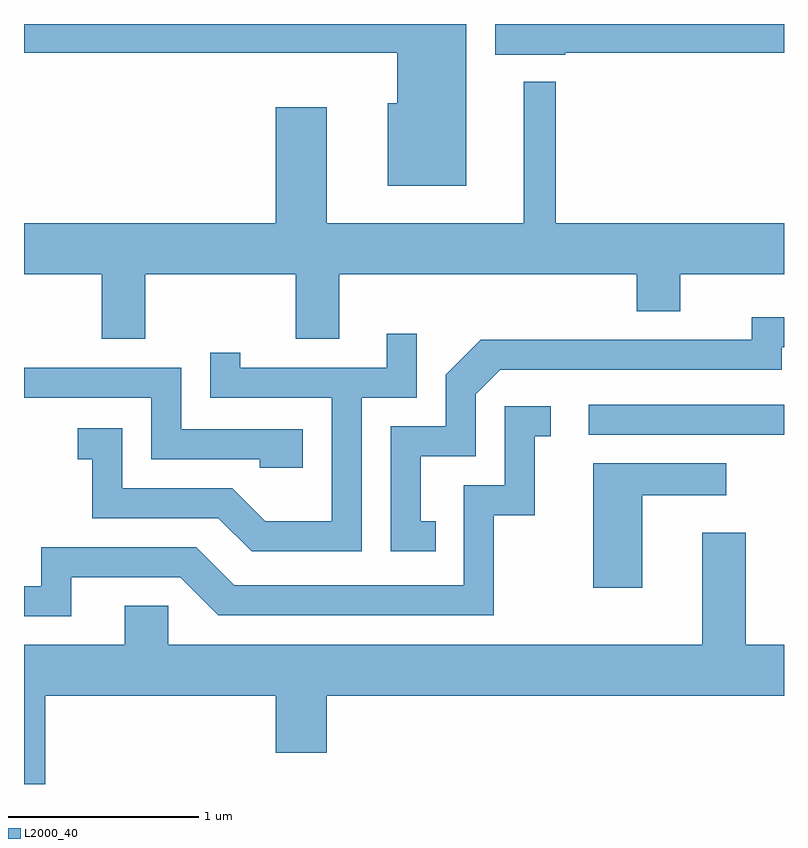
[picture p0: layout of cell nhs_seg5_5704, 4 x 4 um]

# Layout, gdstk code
import gdstk
lib = gdstk.Library(unit=1e-6, precision=1e-09)
def R(c, l, rs):  # rectangles x0, y0, x1, y1
    for r in rs: c.add(gdstk.rectangle(r[:2], r[2:], *l))
def P(c, l, *ps):  # polygons
    for p in ps: c.add(gdstk.Polygon(p, *l))
L2000_40 = (2000, 40)

nhs_seg5_5704 = lib.new_cell('nhs_seg5_5704')
R(nhs_seg5_5704, L2000_40, [(356.583,1495.911,357.611,1496.069)])
P(nhs_seg5_5704, L2000_40, [(355.939,1498.072),(353.611,1498.072),(353.611,1497.921),(355.576,1497.921),(355.576,1497.654),(355.526,1497.654),(355.526,1497.221),(355.939,1497.221)],
  [(356.46,1497.921),(357.611,1497.921),(357.611,1498.072),(356.091,1498.072),(356.091,1497.911),(356.46,1497.911)],
  [(354.249,1496.756),(355.041,1496.756),(355.041,1496.416),(355.269,1496.416),(355.269,1496.756),(356.836,1496.756),(356.836,1496.561),(357.064,1496.561),(357.064,1496.756),(357.611,1496.756),(357.611,1497.024),(356.409,1497.024),(356.409,1497.768),(356.241,1497.768),(356.241,1497.024),(355.204,1497.024),(355.204,1497.634),(354.936,1497.634),(354.936,1497.024),(353.611,1497.024),(353.611,1496.756),(354.021,1496.756),(354.021,1496.416),(354.249,1496.416)],
  [(355.778,1495.454),(355.699,1495.454),(355.699,1495.796),(355.989,1495.796),(355.989,1496.124),(356.117,1496.251),(357.599,1496.251),(357.599,1496.371),(357.611,1496.371),(357.611,1496.529),(357.441,1496.529),(357.441,1496.409),(356.014,1496.409),(355.831,1496.227),(355.831,1495.954),(355.541,1495.954),(355.541,1495.296),(355.778,1495.296)],
  [(355.389,1496.106),(355.679,1496.106),(355.679,1496.443),(355.521,1496.443),(355.521,1496.264),(354.749,1496.264),(354.749,1496.343),(354.591,1496.343),(354.591,1496.106),(355.231,1496.106),(355.231,1495.454),(354.882,1495.454),(354.707,1495.629),(354.129,1495.629),(354.129,1495.944),(353.893,1495.944),(353.893,1495.781),(353.971,1495.781),(353.971,1495.471),(354.634,1495.471),(354.809,1495.296),(355.389,1495.296)],
  [(355.079,1495.939),(354.439,1495.939),(354.439,1496.264),(353.611,1496.264),(353.611,1496.106),(354.281,1496.106),(354.281,1495.781),(354.851,1495.781),(354.851,1495.736),(355.079,1495.736)],
  [(353.859,1495.161),(354.434,1495.161),(354.634,1494.961),(356.084,1494.961),(356.084,1495.486),(356.299,1495.486),(356.299,1495.901),(356.383,1495.901),(356.383,1496.059),(356.141,1496.059),(356.141,1495.644),(355.926,1495.644),(355.926,1495.119),(354.717,1495.119),(354.517,1495.319),(353.701,1495.319),(353.701,1495.114),(353.611,1495.114),(353.611,1494.956),(353.859,1494.956)],
  [(356.864,1495.591),(357.308,1495.591),(357.308,1495.759),(356.606,1495.759),(356.606,1495.106),(356.864,1495.106)],
  [(353.724,1494.536),(354.936,1494.536),(354.936,1494.236),(355.204,1494.236),(355.204,1494.536),(357.611,1494.536),(357.611,1494.804),(357.409,1494.804),(357.409,1495.394),(357.181,1495.394),(357.181,1494.804),(354.369,1494.804),(354.369,1495.009),(354.141,1495.009),(354.141,1494.804),(353.611,1494.804),(353.611,1494.072),(353.724,1494.072)])

lib.write_gds('nhs_seg5_5704.gds')
